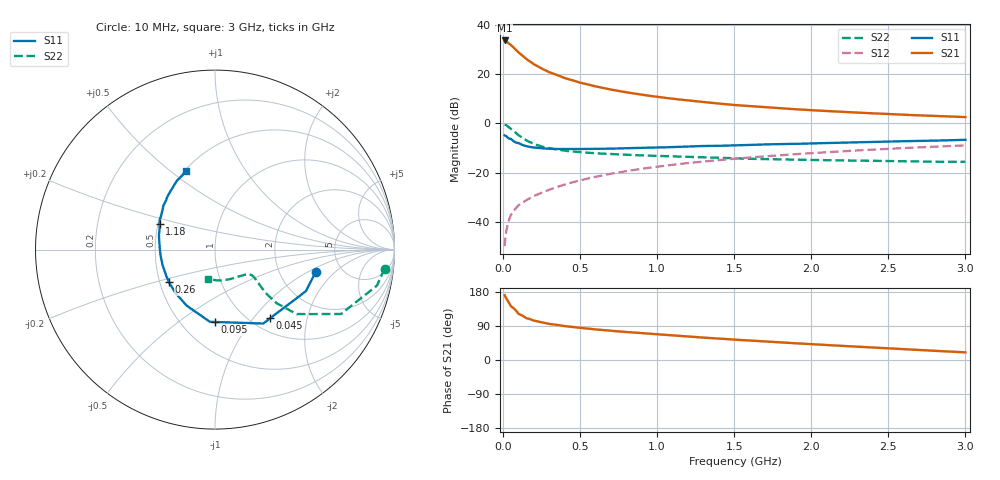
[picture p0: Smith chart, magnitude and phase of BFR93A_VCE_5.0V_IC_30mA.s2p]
! Infineon Technologies  Discrete & RF Semiconductors
! BFR93A
! VCE =  5.0 V,  IC =  30 mA
! Common Emitter S-Parameters:  Nov 2015
# GHz  S  MA  R  50
!  f  S11  S21  S12  S22
! GHz  MAG  ANG  MAG  ANG  MAG  ANG  MAG  ANG
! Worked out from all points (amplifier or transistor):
!   180 points, 10 MHz to 3 GHz, reference 50 ohm
!   highest |S21| = 33.6 dB at 10 MHz (marker M1)
!   |S21| within 3 dB of that: start of sweep to 70.44 MHz
!   unconditionally stable (mu >= 1): 370.1 MHz to 2.731 GHz
!   at 160 MHz: K = 0.77, MSG = 28.2 dB, |S12| = -30.7 dB
!   at 1.22 GHz: K = 1.07, MAG = 10.9 dB, |S12| = -15.9 dB
!   at 3 GHz: K = 0.98, MSG = 5.7 dB, |S12| = -8.8 dB
!   S11 on the Smith chart (normalised r, x): 10 MHz: 3.22, -1.19; 45 MHz: 1.22, -1.22; 95 MHz: 0.72, -0.70; 260 MHz: 0.56, -0.22; 1.18 GHz: 0.51, +0.16; 3 GHz: 0.51, +0.57
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0.01  0.5746 -12.5  47.83 171.0  0.0033 84.4  0.9503 -6.4
0.02  0.5572 -24.5  46.32 162.9  0.0065 78.8  0.9248 -12.5
0.045  0.4908 -51.1  39.9 146.3  0.0127 70.9  0.807 -24.3
0.05  0.4918 -56.9  39.09 142.4  0.014 70.2  0.7883 -27.1
0.095  0.4033 -89.8  28.42 124.7  0.0213 64.5  0.5993 -36.8
0.1  0.4033 -94.0  27.47 122.0  0.0221 64.1  0.5797 -38.3
0.15  0.35 -116.8  20.21 110.7  0.028 64.1  0.4553 -41.0
0.2  0.3271 -132.3  15.81 103.9  0.034 65.8  0.3852 -40.7
0.24  0.3167 -141.0  13.49 100.0  0.0386 66.7  0.3507 -39.8
0.26  0.3137 -144.8  12.52 98.2  0.041 67.2  0.3366 -39.3
0.3  0.3092 -150.7  10.9 95.2  0.0457 68.4  0.3145 -38.2
0.4  0.3047 -163.3  8.295 89.4  0.0582 70.1  0.2806 -36.1
0.52  0.3052 -174.0  6.49 84.0  0.0733 70.6  0.26 -35.0
0.6  0.3073 -179.6  5.634 80.7  0.0835 70.6  0.2496 -34.8
0.7  0.3099 175.4  4.854 77.1  0.0962 70.3  0.2408 -35.2
0.8  0.3159 170.1  4.273 73.8  0.1087 69.6  0.233 -36.0
1.02  0.3278 160.7  3.399 67.2  0.1361 67.7  0.2204 -39.1
1.18  0.3404 155.2  2.976 62.6  0.1558 66.1  0.2118 -42.4
1.52  0.3618 144.6  2.343 53.3  0.1961 62.4  0.1967 -50.4
2.02  0.397 131.9  1.843 41.4  0.2534 56.7  0.1827 -65.0
2.52  0.4315 120.7  1.542 30.4  0.3093 50.5  0.1737 -82.4
3  0.4682 110.0  1.348 20.2  0.3612 44.4  0.1678 -103.7
